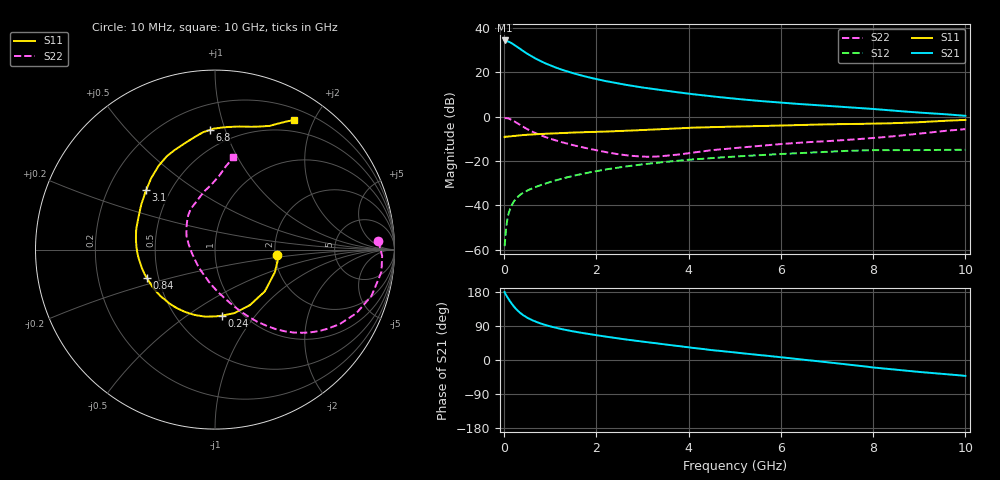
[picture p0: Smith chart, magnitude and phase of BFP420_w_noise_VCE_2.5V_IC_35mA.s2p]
! Infineon Technologies  Discrete & RF Semiconductors
! BFP420
! VCE =  2.5 V,  IC =  35 mA
! Common Emitter S-Parameters:  Jan 2016
# GHz  S  MA  R  50
!  f  S11  S21  S12  S22
! GHz  MAG  ANG  MAG  ANG  MAG  ANG  MAG  ANG
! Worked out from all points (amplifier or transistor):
!   233 points, 10 MHz to 10 GHz, reference 50 ohm
!   highest |S21| = 34.4 dB at 10 MHz (marker M1)
!   |S21| within 3 dB of that: start of sweep to 288.6 MHz
!   unconditionally stable (mu >= 1): start of sweep to 12.79 MHz; 1.435 GHz to end of sweep
!   at 200 MHz: K = 0.33, MSG = 35.6 dB, |S12| = -38.6 dB
!   at 1.74 GHz: K = 1.05, MAG = 20.5 dB, |S12| = -25.6 dB
!   at 10 GHz: K = 1.06, MAG = 6.2 dB, |S12| = -14.9 dB
!   lowest NFmin = 1.64 dB at 900 MHz
!   S11 on the Smith chart (normalised r, x): 10 MHz: 2.05, -0.14; 240 MHz: 0.82, -0.70; 840 MHz: 0.43, -0.17; 3.1 GHz: 0.37, +0.33; 6.8 GHz: 0.37, +0.88; 10 GHz: 0.34, +1.73
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0.01  0.3472 -4.9  52.64 179.4  0.0012 105.2  0.9106 3.0
0.02  0.355 -9.0  51.54 175.9  0.0017 86.4  0.9319 -2.1
0.045  0.3552 -18.8  51.08 170.7  0.0033 85.5  0.9344 -6.7
0.105  0.3611 -41.8  49.02 158.8  0.007 77.8  0.9043 -17.1
0.15  0.3655 -57.9  46.47 150.6  0.0094 74.0  0.8639 -24.2
0.2  0.3701 -73.0  43.19 142.6  0.0118 70.0  0.8091 -30.9
0.24  0.3699 -83.7  40.36 136.9  0.0135 67.4  0.7635 -35.4
0.3  0.3773 -97.9  36.58 129.3  0.0158 64.6  0.6979 -41.5
0.36  0.3821 -109.2  33.08 123.1  0.0177 62.5  0.6384 -46.4
0.42  0.3861 -118.7  29.99 117.7  0.0194 61.2  0.586 -50.4
0.5  0.3927 -129.2  26.44 111.6  0.0215 60.2  0.5257 -55.0
0.68  0.4032 -146.3  20.61 101.3  0.0259 59.3  0.4268 -62.7
0.84  0.4111 -157.1  17.03 94.4  0.0298 59.2  0.3657 -68.1
1.2  0.4287 -174.0  12.01 82.7  0.0387 59.0  0.2754 -79.0
1.68  0.4464 170.7  8.504 71.6  0.051 57.0  0.2062 -93.2
2.26  0.4642 156.3  6.211 60.7  0.066 53.0  0.1552 -113.0
3.1  0.5066 139.2  4.415 47.1  0.0865 45.6  0.1252 -152.9
3.4  0.526 133.6  3.986 42.5  0.0934 42.7  0.1284 -168.2
5.1  0.6016 110.8  2.494 18.6  0.1282 26.4  0.2005 142.6
6.8  0.6665 92.6  1.817 -3.1  0.1585 10.3  0.2738 116.1
8.4  0.7135 73.5  1.384 -24.7  0.1764 -7.7  0.3586 94.0
10  0.8464 58.6  1.047 -41.9  0.18 -20.2  0.5243 78.7
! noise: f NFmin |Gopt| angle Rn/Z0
0.9  1.64  0.3  -155  0.13
1.8  1.9  0.37  -142  0.15
2.4  2.1  0.34  -134  0.19
3  2.11  0.4  -126  0.22
4  2.25  0.5  -110  0.35
5  2.73  0.54  -94  0.59
6  3.16  0.59  -82  0.84
